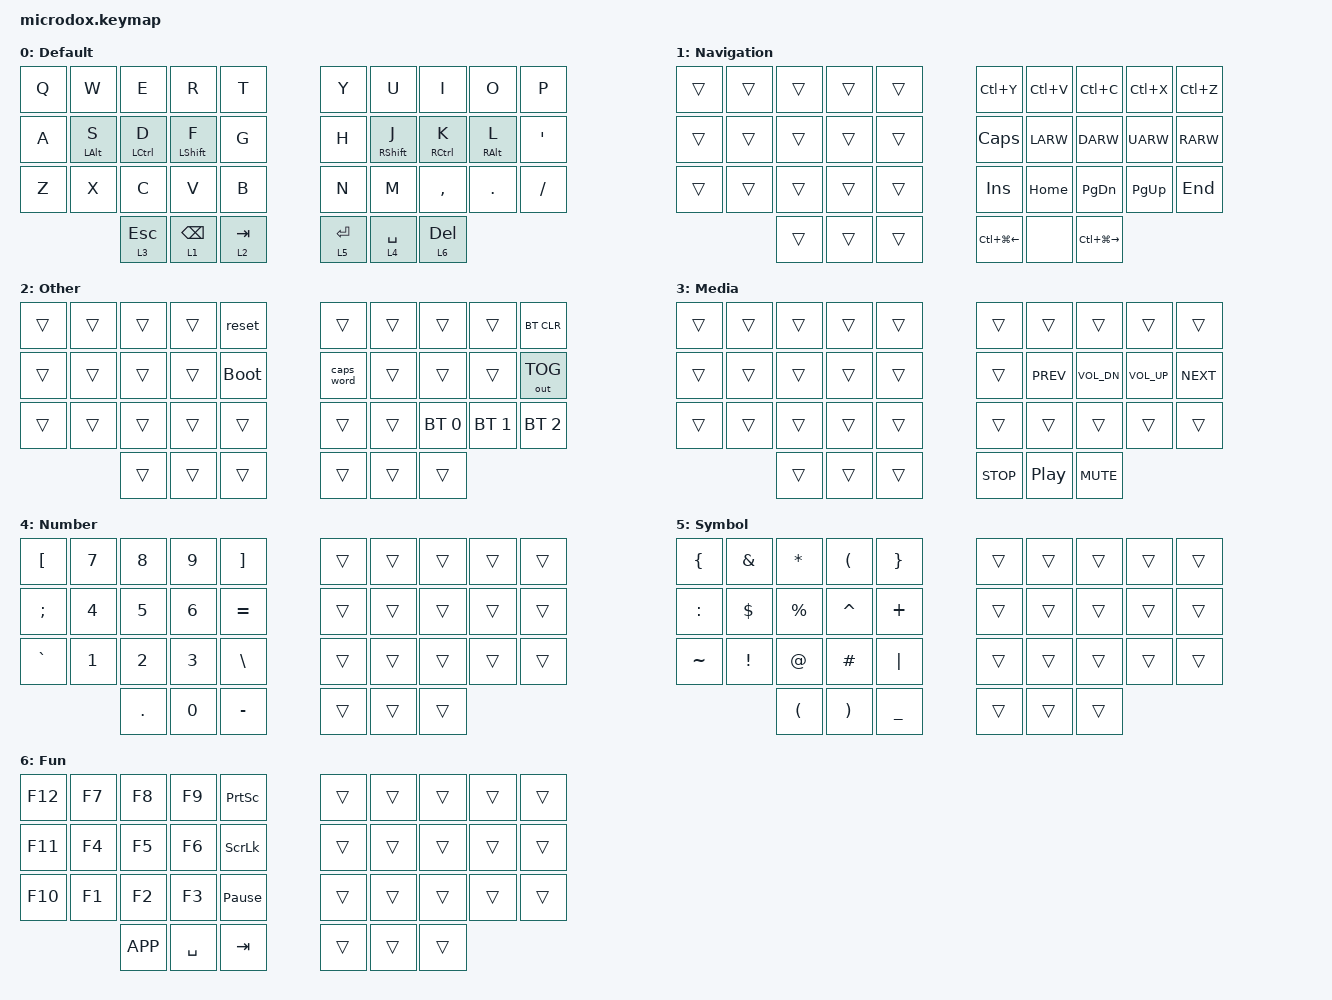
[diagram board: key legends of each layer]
/*
 * Copyright (c) 2020 The ZMK Contributors
 *
 * SPDX-License-Identifier: MIT
 */

#include <behaviors.dtsi>
#include <dt-bindings/zmk/keys.h>
#include <dt-bindings/zmk/bt.h>
#include <dt-bindings/zmk/outputs.h>

#define NAV_L 1
#define OTH_L 2
#define MED_L 3
#define NUM_L 4
#define SYM_L 5
#define FUN_L 6

/*               36 KEY POSITIONS
 * ╭─────────────────────╮ ╭─────────────────────╮
 * │  0   1   2   3   4  │ │  5   6   7   8   9  │
 * │ 10  11  12  13  14  │ │ 15  16  17  18  19  │
 * │ 20  21  22  23  24  │ │ 25  26  27  28  29  │
 * ╰───────╮ 30  31  32  │ │ 33  34  35  ╭───────╯
 *         ╰─────────────╯ ╰─────────────╯           
 */

// Using layer taps on thumbs, having quick tap as well helps w/ repeating space/backspace
&lt { quick_tap_ms = <200>; };

/ {
    combos {
        compatible = "zmk,combos";
        combo_lgui{
            timeout-ms = <50>;
            key-positions = <20 21>;
            bindings = <&kp LGUI>;
        }; 
        combo_rgui{
            timeout-ms = <50>;
            key-positions = <28 29>;
            bindings = <&kp RGUI>;
        };
    };
    


    behaviors {
        hm: homerow_mods {
            compatible = "zmk,behavior-hold-tap";
            label = "homerow mods";
            #binding-cells = <2>;
            tapping_term_ms = <200>;
            quick_tap_ms = <150>;
            flavor = "tap-preferred";
            bindings = <&kp>, <&kp>;
        };
    };

    keymap {
        compatible = "zmk,keymap";
//               QWERTY KEY POSITIONS
// ╭─────────────────────╮ ╭─────────────────────╮
// │  Q   W   E   R   T  │ │  Y   U   I   O   P  │
// │  A   S   D   F   G  │ │  H   J   K   L   '  │
// │  Z   X   C   D   V  │ │  K   H   ,   .   /  │
// ╰───────╮ ESC BK_ TAB │ │ RET SPC DEL ╭───────╯
//         ╰─────────────╯ ╰─────────────╯
//         │ MED NAV OTH │ │ SYM NUM FUN │
//         ╰─────────────╯ ╰─────────────╯            
//            MIRYOKU HOMEROW + THUMBS    
// ╭─────────────────────╮ ╭─────────────────────╮
// │                     │ │                     │
// │     ALT CTL SHF     │ │     SHF CTL ALT     │
// │ vLGUIv              │ │              vLGUIv │
// ╰───────╮ ESC BK_ TAB │ │ RET SPC DEL ╭───────╯
//         ╰─────────────╯ ╰─────────────╯   
//         │ MED NAV OTH │ │ SYM NUM FUN │
//         ╰─────────────╯ ╰─────────────╯   
            default_layer {
                label = "Default";
                        bindings = <
   &kp Q &kp W &kp E &kp R &kp T                            &kp Y &kp U &kp I &kp O &kp P
   &kp A &hm LALT S &hm LCTRL D &hm LSHFT F &kp G           &kp H &hm RSHFT J &hm RCTRL K &hm RALT L &kp SQT     
   &kp Z &kp X &kp C &kp V &kp B                            &kp N &kp M &kp COMMA &kp DOT &kp FSLH
        &lt 3 ESC &lt 1 BSPC &lt 2 TAB                      &lt 5 RET &lt 4 SPACE &lt 6 DEL
                        >;
                };

// ╭─────────────────────╮ ╭─────────────────────╮
// │                     │ │ RDO PST CPY CUT UND │
// │                     │ │ CAP ⬅   ⬇   ⬆  ⮕  │
// │                     │ │ INS HM  PGD PGU END │
// ╰───────╮     NAV     │ │ LWN     RWN ╭───────╯
//         ╰─────────────╯ ╰─────────────╯
  
            nav_layer {
                label = "Navigation";
                        bindings = <
    &trans &trans &trans &trans &trans    &kp LC(Y) &kp LC(V) &kp LC(C) &kp LC(X) &kp LC(Z)
    &trans &trans &trans &trans &trans    &kp CAPS &kp LARW &kp DARW &kp UARW &kp RARW
    &trans &trans &trans &trans &trans    &kp INS &kp HOME &kp PG_DN &kp PG_UP &kp END
                  &trans &trans &trans    &kp LC(LG(LEFT)) &none &kp LC(LG(RIGHT))
                        >; 
                };

// ╭─────────────────────╮ ╭─────────────────────╮
// │                 RST │ │                 CLR │
// │                 BLD │ │ CPW             TOG │
// │                     │ │         BT0 BT1 BT2 │
// ╰───────╮         OTH │ │             ╭───────╯
//         ╰─────────────╯ ╰─────────────╯   
            other_layer {
                label = "Other";
                    bindings = <
    &trans &trans &trans &trans &reset      &trans      &trans       &trans       &trans       &bt BT_CLR
    &trans &trans &trans &trans &bootloader &caps_word  &trans       &trans       &trans       &out OUT_TOG
    &trans &trans &trans &trans &trans      &trans      &trans       &bt BT_SEL 0 &bt BT_SEL 1 &bt BT_SEL 2 
                  &trans &trans &trans      &trans      &trans       &trans
                    >;
                };

// ╭─────────────────────╮ ╭─────────────────────╮
// │                     │ │                     │
// │                     │ │     PRV VL+ VL- NXT │
// │                     │ │                     │
// ╰───────╮ MED         │ │ STP PAU MUT ╭───────╯
//         ╰─────────────╯ ╰─────────────╯   
            media_layer {
                label = "Media";
                    bindings = <
&trans	   &trans     &trans      &trans          &trans       &trans           &trans         &trans       &trans       &trans
&trans     &trans     &trans      &trans          &trans       &trans           &kp C_PREV     &kp C_VOL_DN &kp C_VOL_UP &kp C_NEXT
&trans     &trans     &trans      &trans          &trans       &trans           &trans         &trans       &trans       &trans
                      &trans      &trans          &trans       &kp C_STOP       &kp C_PLAY_PAUSE &kp C_MUTE
                    >;
                };

// ╭─────────────────────╮ ╭─────────────────────╮
// │  [   7   8   9   ]  │ │                     │
// │  ;   4   5   6   =  │ │                     │
// │  `   1   2   3   \  │ │                     │
// ╰───────╮  .   0   -  │ │     NUM     ╭───────╯
//         ╰─────────────╯ ╰─────────────╯   
            num_layer {
                label = "Number";
                    bindings = <
    &kp LBKT  &kp N7  &kp N8 &kp N9 &kp RBKT    &trans &trans &trans &trans &trans    
    &kp SEMI  &kp N4  &kp N5 &kp N6 &kp EQUAL   &trans &trans &trans &trans &trans    
    &kp GRAVE &kp N1  &kp N2 &kp N3 &kp BSLH    &trans &trans &trans &trans &trans    
                   &kp DOT &kp N0 &kp MINUS     &trans &trans &trans    
                    >;
                };

// ╭─────────────────────╮ ╭─────────────────────╮
// │  {   &   *   (   }  │ │                     │
// │  :   $   %   ^   +  │ │                     │
// │  ~   !   @   #  "│" │ │                     │
// ╰───────╮  (   )   _  │ │ SYM         ╭───────╯
//         ╰─────────────╯ ╰─────────────╯     
            sym_layer {
                label = "Symbol";
                    bindings = <
    &kp LBRC  &kp AMPS &kp STAR  &kp LPAR &kp RBRC   &trans &trans &trans &trans &trans
    &kp COLON &kp DLLR &kp PRCNT &kp CARET   &kp PLUS   &trans &trans &trans &trans &trans
    &kp TILDE &kp EXCL &kp AT    &kp HASH    &kp PIPE   &trans &trans &trans &trans &trans
                     &kp LPAR &kp RPAR &kp UNDER  &trans &trans &trans
                    >;
                };

// ╭─────────────────────╮ ╭─────────────────────╮
// │ F12 F7  F8  F9  PSC │ │                     │
// │ F11 F4  F5  F6  SLK │ │                     │
// │ F10 F1  F2  F3  PBR │ │                     │
// ╰───────╮ APP SPC TAB │ │         FUN ╭───────╯
//         ╰─────────────╯ ╰─────────────╯   
            fun_layer {
                label = "Fun";
                    bindings = <
    &kp F12     &kp F7     &kp F8      &kp F9     &kp PSCRN         &trans          &trans         &trans      &trans     &trans
    &kp F11     &kp F4     &kp F5      &kp F6     &kp SLCK          &trans          &trans         &trans      &trans     &trans
    &kp F10     &kp F1     &kp F2      &kp F3     &kp PAUSE_BREAK   &trans          &trans         &trans      &trans     &trans
                           &kp K_APP   &kp SPACE  &kp TAB           &trans          &trans         &trans
                    >;
                };
        };
};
